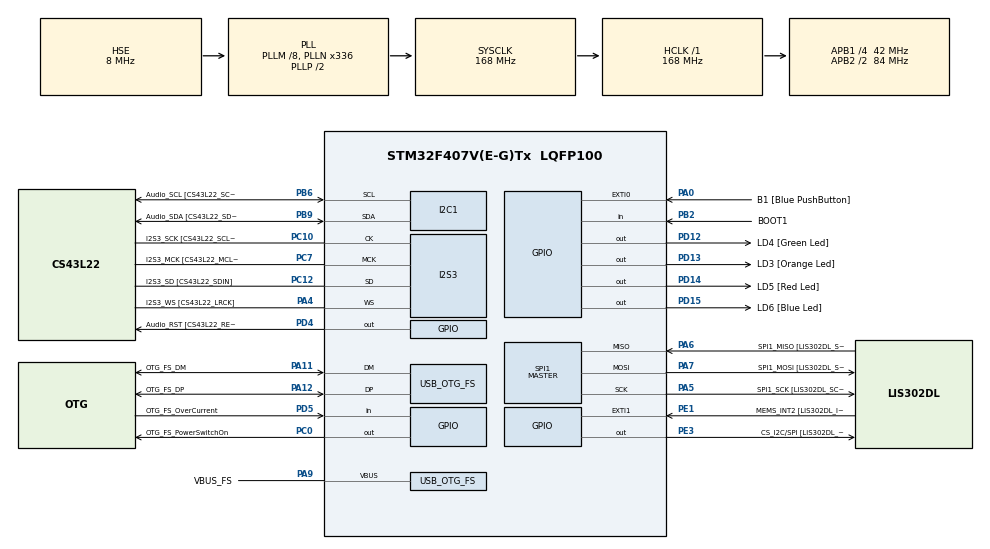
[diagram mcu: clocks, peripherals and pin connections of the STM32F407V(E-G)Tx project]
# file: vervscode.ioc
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I2S3.AudioFreq-Half_Duplex_Master=I2S_AUDIOFREQ_96K
I2S3.ErrorAudioFreq=-2.34 %
I2S3.ErrorAudioFreq-Half_Duplex_Master=0.8 %
I2S3.FullDuplexMode=I2S_FULLDUPLEXMODE_DISABLE
I2S3.Instance=SPI$Index
I2S3.RealAudioFreq=93.75 KHz
I2S3.RealAudioFreq-Half_Duplex_Master=96.774 KHz
I2S3.VirtualMode=I2S_MODE_MASTER
Mcu.Family=STM32F4
Mcu.Name=STM32F407V(E-G)Tx
Mcu.Package=LQFP100
NVIC.OTG_FS_IRQn=true\:0\:0\:false\:false\:true\:true\:true\:true
NVIC.PriorityGroup=NVIC_PRIORITYGROUP_0
PA0-WKUP.GPIO_Label=B1 [Blue PushButton]
PA0-WKUP.GPIO_ModeDefaultEXTI=GPIO_MODE_EVT_RISING
PA0-WKUP.GPIO_PuPd=GPIO_NOPULL
PA0-WKUP.Signal=GPXTI0
PA10.GPIO_Label=OTG_FS_ID
PA10.GPIO_Mode=GPIO_MODE_AF_PP
PA10.GPIO_PuPd=GPIO_NOPULL
PA10.GPIO_Speed=GPIO_SPEED_FREQ_LOW
PA10.Signal=USB_OTG_FS_ID
PA11.GPIO_Label=OTG_FS_DM
PA11.GPIO_Mode=GPIO_MODE_AF_PP
PA11.GPIO_PuPd=GPIO_NOPULL
PA11.GPIO_Speed=GPIO_SPEED_FREQ_LOW
PA11.Mode=Host_Only
PA11.Signal=USB_OTG_FS_DM
PA12.GPIO_Label=OTG_FS_DP
PA12.GPIO_Mode=GPIO_MODE_AF_PP
PA12.GPIO_PuPd=GPIO_NOPULL
PA12.GPIO_Speed=GPIO_SPEED_FREQ_LOW
PA12.Mode=Host_Only
PA12.Signal=USB_OTG_FS_DP
PA13.GPIO_Label=SWDIO
PA13.Mode=Serial_Wire
PA13.Signal=SYS_JTMS-SWDIO
PA14.GPIO_Label=SWCLK
PA14.Mode=Serial_Wire
PA14.Signal=SYS_JTCK-SWCLK
PA4.GPIO_Label=I2S3_WS [CS43L22_LRCK]
PA4.GPIO_Mode=GPIO_MODE_AF_PP
PA4.GPIO_PuPd=GPIO_NOPULL
PA4.GPIO_Speed=GPIO_SPEED_FREQ_LOW
PA4.Mode=Half_Duplex_Master
PA4.Signal=I2S3_WS
PA5.GPIO_Label=SPI1_SCK [LIS302DL_SCL/SPC]
PA5.GPIO_Mode=GPIO_MODE_AF_PP
PA5.GPIO_PuPd=GPIO_NOPULL
PA5.GPIO_Speed=GPIO_SPEED_FREQ_LOW
PA5.Mode=Full_Duplex_Master
PA5.Signal=SPI1_SCK
PA6.GPIO_Label=SPI1_MISO [LIS302DL_SDO]
PA6.GPIO_Mode=GPIO_MODE_AF_PP
PA6.GPIO_PuPd=GPIO_NOPULL
PA6.GPIO_Speed=GPIO_SPEED_FREQ_LOW
PA6.Mode=Full_Duplex_Master
PA6.Signal=SPI1_MISO
PA7.GPIO_Label=SPI1_MOSI [LIS302DL_SDA/SDI/SDO]
PA7.GPIO_Mode=GPIO_MODE_AF_PP
PA7.GPIO_PuPd=GPIO_NOPULL
PA7.GPIO_Speed=GPIO_SPEED_FREQ_LOW
PA7.Mode=Full_Duplex_Master
PA7.Signal=SPI1_MOSI
PA9.GPIO_Label=VBUS_FS
PA9.GPIO_Mode=GPIO_MODE_INPUT
PA9.GPIO_PuPd=GPIO_NOPULL
PA9.Mode=Activate_VBUS
PA9.Signal=USB_OTG_FS_VBUS
PB10.GPIO_Label=CLK_IN [MP45DT02_CLK]
PB10.GPIO_Mode=GPIO_MODE_AF_PP
PB10.GPIO_PuPd=GPIO_NOPULL
PB10.GPIO_Speed=GPIO_SPEED_FREQ_LOW
PB10.Signal=I2S2_CK
PB2.GPIO_Label=BOOT1
PB2.GPIO_Mode=GPIO_MODE_INPUT
PB2.GPIO_PuPd=GPIO_NOPULL
PB2.Signal=GPIO_Input
PB3.GPIO_Label=SWO
PB3.Signal=SYS_JTDO-SWO
PB6.GPIO_Label=Audio_SCL [CS43L22_SCL]
PB6.GPIO_Mode=GPIO_MODE_AF_OD
PB6.GPIO_Pu=GPIO_PULLUP
PB6.GPIO_PuPd=GPIO_NOPULL
PB6.GPIO_Speed=GPIO_SPEED_FREQ_LOW
PB6.Mode=I2C
PB6.Signal=I2C1_SCL
PB9.GPIO_Label=Audio_SDA [CS43L22_SDA]
PB9.GPIO_Mode=GPIO_MODE_AF_OD
PB9.GPIO_Pu=GPIO_PULLUP
PB9.GPIO_PuPd=GPIO_NOPULL
PB9.GPIO_Speed=GPIO_SPEED_FREQ_LOW
PB9.Mode=I2C
PB9.Signal=I2C1_SDA
PC0.GPIO_Label=OTG_FS_PowerSwitchOn
PC0.GPIO_PuPd=GPIO_NOPULL
PC0.GPIO_Speed=GPIO_SPEED_FREQ_LOW
PC0.PinState=GPIO_PIN_SET
PC0.Signal=GPIO_Output
PC10.GPIO_Label=I2S3_SCK [CS43L22_SCLK]
PC10.GPIO_Mode=GPIO_MODE_AF_PP
PC10.GPIO_PuPd=GPIO_NOPULL
PC10.GPIO_Speed=GPIO_SPEED_FREQ_LOW
PC10.Mode=Half_Duplex_Master
PC10.Signal=I2S3_CK
PC12.GPIO_Label=I2S3_SD [CS43L22_SDIN]
PC12.GPIO_Mode=GPIO_MODE_AF_PP
PC12.GPIO_PuPd=GPIO_NOPULL
PC12.GPIO_Speed=GPIO_SPEED_FREQ_LOW
PC12.Mode=Half_Duplex_Master
PC12.Signal=I2S3_SD
PC14-OSC32_IN.GPIO_Label=PC14-OSC32_IN
PC14-OSC32_IN.Mode=LSE-External-Oscillator
PC14-OSC32_IN.Signal=RCC_OSC32_IN
PC15-OSC32_OUT.GPIO_Label=PC15-OSC32_OUT
PC15-OSC32_OUT.Mode=LSE-External-Oscillator
PC15-OSC32_OUT.Signal=RCC_OSC32_OUT
PC3.GPIO_Label=PDM_OUT [MP45DT02_DOUT]
PC3.GPIO_Mode=GPIO_MODE_AF_PP
PC3.GPIO_PuPd=GPIO_NOPULL
PC3.GPIO_Speed=GPIO_SPEED_FREQ_LOW
PC3.Signal=I2S2_SD
PC7.GPIO_Label=I2S3_MCK [CS43L22_MCLK]
PC7.GPIO_Mode=GPIO_MODE_AF_PP
PC7.GPIO_PuPd=GPIO_NOPULL
PC7.GPIO_Speed=GPIO_SPEED_FREQ_LOW
PC7.Mode=Master_Clock_Activated
PC7.Signal=I2S3_MCK
PD12.GPIO_Label=LD4 [Green Led]
PD12.GPIO_PuPd=GPIO_NOPULL
PD12.GPIO_Speed=GPIO_SPEED_FREQ_LOW
PD12.Signal=GPIO_Output
PD13.GPIO_Label=LD3 [Orange Led]
PD13.GPIO_PuPd=GPIO_NOPULL
PD13.GPIO_Speed=GPIO_SPEED_FREQ_LOW
PD13.Signal=GPIO_Output
PD14.GPIO_Label=LD5 [Red Led]
PD14.GPIO_PuPd=GPIO_NOPULL
PD14.GPIO_Speed=GPIO_SPEED_FREQ_LOW
PD14.Signal=GPIO_Output
PD15.GPIO_Label=LD6 [Blue Led]
PD15.GPIO_PuPd=GPIO_NOPULL
PD15.GPIO_Speed=GPIO_SPEED_FREQ_LOW
PD15.Signal=GPIO_Output
PD4.GPIO_Label=Audio_RST [CS43L22_RESET]
PD4.GPIO_PuPd=GPIO_NOPULL
PD4.GPIO_Speed=GPIO_SPEED_FREQ_LOW
PD4.Signal=GPIO_Output
PD5.GPIO_Label=OTG_FS_OverCurrent
PD5.GPIO_Mode=GPIO_MODE_INPUT
PD5.GPIO_PuPd=GPIO_NOPULL
PD5.Signal=GPIO_Input
PE1.GPIO_Label=MEMS_INT2 [LIS302DL_INT2]
PE1.GPIO_ModeDefaultEXTI=GPIO_MODE_EVT_RISING
PE1.GPIO_PuPd=GPIO_NOPULL
PE1.Signal=GPXTI1
PE3.GPIO_Label=CS_I2C/SPI [LIS302DL_CS_I2C/SPI]
PE3.GPIO_PuPd=GPIO_NOPULL
PE3.GPIO_Speed=GPIO_SPEED_FREQ_LOW
PE3.Signal=GPIO_Output
PH0-OSC_IN.GPIO_Label=PH0-OSC_IN
PH0-OSC_IN.Mode=HSE-External-Oscillator
PH0-OSC_IN.Signal=RCC_OSC_IN
PH1-OSC_OUT.GPIO_Label=PH1-OSC_OUT
PH1-OSC_OUT.Mode=HSE-External-Oscillator
PH1-OSC_OUT.Signal=RCC_OSC_OUT
ProjectManager.HeapSize=0x200
ProjectManager.StackSize=0x400
ProjectManager.TargetToolchain=Makefile
RCC.48MHZClocksFreq_Value=48000000
RCC.AHBFreq_Value=168000000
RCC.APB1CLKDivider=RCC_HCLK_DIV4
RCC.APB1Freq_Value=42000000
RCC.APB1TimFreq_Value=84000000
RCC.APB2CLKDivider=RCC_HCLK_DIV2
RCC.APB2Freq_Value=84000000
RCC.APB2TimFreq_Value=168000000
RCC.CortexFreq_Value=168000000
RCC.HCLKFreq_Value=168000000
RCC.HSE_VALUE=8000000
RCC.HSI_VALUE=16000000
RCC.PLLM=8
RCC.PLLN=336
RCC.PLLQ=7
RCC.SYSCLKFreq_VALUE=168000000
RCC.SYSCLKSource=RCC_SYSCLKSOURCE_PLLCLK
RCC.VCOOutputFreq_Value=336000000
SPI1.BaudRatePrescaler-Full_Duplex_Master=SPI_BAUDRATEPRESCALER_2
SPI1.CalculateBaudRate-Full_Duplex_Master=42.0 MBits/s
SPI1.Direction=SPI_DIRECTION_2LINES
SPI1.Mode=SPI_MODE_MASTER
SPI1.Mode-Full_Duplex_Master=SPI_MODE_MASTER
SPI1.VirtualType=VM_MASTER
USB_HOST.BSP.number=1
USB_HOST.USBH_HandleTypeDef-CDC_FS=hUsbHostFS
USB_HOST.VirtualModeFS=Cdc
USB_HOST0.BSP.STBoard=false
USB_HOST0.BSP.api=Unknown
USB_HOST0.BSP.instance=PC0
USB_HOST0.BSP.ip=GPIO
USB_HOST0.BSP.mode=Output
USB_HOST0.BSP.name=Drive_VBUS_FS
USB_HOST0.BSP.solution=PC0
USB_OTG_FS.VirtualMode=Host_Only
USB_OTG_FS.phy_itface=HCD_PHY_EMBEDDED
VP_USB_HOST_VS_USB_HOST_CDC_FS.Mode=CDC_FS
board=STM32F407G-DISC1

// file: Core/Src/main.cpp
/* USER CODE BEGIN Header */
/**
  ******************************************************************************
  * @file           : main.c
  * @brief          : Main program body
  ******************************************************************************
  * @attention
  *
  * Copyright (c) 2026 STMicroelectronics.
  * All rights reserved.
  *
  * This software is licensed under terms that can be found in the LICENSE file
  * in the root directory of this software component.
  * If no LICENSE file comes with this software, it is provided AS-IS.
  *
  ******************************************************************************
  */
/* USER CODE END Header */
#include "main.h"
#include "i2c.h"
#include "i2s.h"
#include "spi.h"
#include "usb_host.h"
#include "gpio.h"

/* USER CODE BEGIN Includes */
#include "MahonyAHRS.h"
#include <cmath>
#include <cstdio>
#include <stdint.h>
#include <stdio.h>
/* USER CODE END Includes */

/* USER CODE BEGIN PD */
#define MPU6050_ADDR        (0x68 << 1)
#define MPU6050_WHO_AM_I    0x75
#define MPU6050_PWR_MGMT_1  0x6B
#define MPU6050_GYRO_CONFIG 0x1B
#define MPU6050_ACCEL_CONFIG 0x1C
#define MPU6050_ACCEL_XOUT_H 0x3B

#define ACCEL_SCALE (1.0f / 16384.0f)
#define GYRO_SCALE  (1.0f / 65.5f)
/* USER CODE END PD */

/* USER CODE BEGIN PV */

static float ax = 0, ay = 0, az = 0;
static float gx = 0, gy = 0, gz = 0;
static float gyro_offset[3] = {0};
static float accel_offset[3] = {0};
static uint32_t last_micros = 0;
static bool mpu_initialized = false;
/* USER CODE END PV */

void SystemClock_Config(void);
void MX_USB_HOST_Process(void);

/* USER CODE BEGIN PFP */
static bool MPU6050_WriteReg(uint8_t reg, uint8_t data);
static bool MPU6050_ReadRegs(uint8_t reg, uint8_t *buf, uint8_t len);
static bool MPU6050_Init(void);

static void MPU6050_CalibrateAccel(void);
static void MPU6050_CalibrateGyro(void);
static void MPU6050_ReadSensors(void);
static uint32_t micros(void);
/* USER CODE END PFP */

/* USER CODE BEGIN 0 */

/* USER CODE BEGIN 0 */

#ifdef __GNUC__
int _write(int file, char *ptr, int len) {
  for(int i = 0; i < len; i++) {
    ITM_SendChar(*ptr++);
  }
  return len;
}
#endif
// MPU6050 Driver Functions
static bool MPU6050_WriteReg(uint8_t reg, uint8_t data) {
  return HAL_I2C_Mem_Write(&hi2c1, MPU6050_ADDR, reg, 1, &data, 1, 100) == HAL_OK;
}
static bool MPU6050_ReadRegs(uint8_t reg, uint8_t *buf, uint8_t len) {
    return HAL_I2C_Mem_Read(&hi2c1, MPU6050_ADDR, reg, 1, buf, len, 100) == HAL_OK;
}
static bool MPU6050_Init(void) {
    uint8_t whoami = 0;

    // Wake up MPU6050 (thoát sleep mode)
    if (!MPU6050_WriteReg(MPU6050_PWR_MGMT_1, 0x00)) return false;
    HAL_Delay(10);

    // Kiểm tra ID: MPU6050 = 0x68
    if (!MPU6050_ReadRegs(MPU6050_WHO_AM_I, &whoami, 1)) return false;
    if (whoami != 0x68) return false;  // ⚠️ QUAN TRỌNG: 0x68 cho MPU6050 (khác 0x71 của MPU9250)

    // Cấu hình gyro ±500dps (0x08 = 500dps)
    if (!MPU6050_WriteReg(MPU6050_GYRO_CONFIG, 0x08)) return false;

    // Cấu hình accel ±2g (default - 0x00)
    // Nếu muốn ±4g: dùng 0x08; ±8g: 0x10; ±16g: 0x18
    if (!MPU6050_WriteReg(MPU6050_ACCEL_CONFIG, 0x00)) return false;

    return true;
}
static void MPU6050_CalibrateGyro(void) {
    int16_t gx_raw, gy_raw, gz_raw;
    float sum_gx = 0, sum_gy = 0, sum_gz = 0;
    uint8_t buf[6];

    HAL_Delay(2000); // Chờ cảm biến ổn định (UAV đứng yên)

    for (int i = 0; i < 200; i++) {
        if (MPU6050_ReadRegs(0x43, buf, 6)) { // Gyro registers (0x43-0x48)
            gx_raw = (int16_t)((buf[0] << 8) | buf[1]);
            gy_raw = (int16_t)((buf[2] << 8) | buf[3]);
            gz_raw = (int16_t)((buf[4] << 8) | buf[5]);

            sum_gx += gx_raw;
            sum_gy += gy_raw;
            sum_gz += gz_raw;
        }
        HAL_Delay(5);
    }

    // Lưu offset (deg/s)
    gyro_offset[0] = (sum_gx / 200.0f) * GYRO_SCALE;
    gyro_offset[1] = (sum_gy / 200.0f) * GYRO_SCALE;
    gyro_offset[2] = (sum_gz / 200.0f) * GYRO_SCALE;
}
static void MPU6050_CalibrateAccel(void){
  float sum_ax = 0, sum_ay = 0, sum_az = 0;
    uint8_t buf[6];

    for (int i = 0; i < 200; i++) {
        if (MPU6050_ReadRegs(MPU6050_ACCEL_XOUT_H, buf, 6)) {
            int16_t ax_raw = (int16_t)((buf[0] << 8) | buf[1]);
            int16_t ay_raw = (int16_t)((buf[2] << 8) | buf[3]);
            int16_t az_raw = (int16_t)((buf[4] << 8) | buf[5]);

            sum_ax += ax_raw * ACCEL_SCALE;
            sum_ay += ay_raw * ACCEL_SCALE;
            sum_az += az_raw * ACCEL_SCALE;
        }
        HAL_Delay(5);
    }

    accel_offset[0] = sum_ax / 200.0f;
    accel_offset[1] = sum_ay / 200.0f;
    accel_offset[2] = (sum_az / 200.0f) - 1.0f;
}
static void MPU6050_ReadSensors(void) {
    uint8_t buf[14];

    if (!MPU6050_ReadRegs(MPU6050_ACCEL_XOUT_H, buf, 14)) {
        return; // Lỗi I2C
    }

    // Accel data (6 bytes: 0x3B-0x40)
    int16_t accel_x = (int16_t)((buf[0] << 8) | buf[1]);
    int16_t accel_y = (int16_t)((buf[2] << 8) | buf[3]);
    int16_t accel_z = (int16_t)((buf[4] << 8) | buf[5]);

    // Gyro data (6 bytes: 0x43-0x48) - bỏ qua 2 byte temp (0x41-0x42)
    int16_t gyro_x = (int16_t)((buf[8] << 8) | buf[9]);
    int16_t gyro_y = (int16_t)((buf[10] << 8) | buf[11]);
    int16_t gyro_z = (int16_t)((buf[12] << 8) | buf[13]);

    // Chuyển sang đơn vị vật lý + bù offset
    // ax = accel_x * ACCEL_SCALE;
    // ay = accel_y * ACCEL_SCALE;
    // az = accel_z * ACCEL_SCALE;

    ax = accel_x * ACCEL_SCALE - accel_offset[0];
    ay = accel_y * ACCEL_SCALE - accel_offset[1];
    az = accel_z * ACCEL_SCALE - accel_offset[2];

    gx = gyro_x * GYRO_SCALE - gyro_offset[0];
    gy = gyro_y * GYRO_SCALE - gyro_offset[1];
    gz = gyro_z * GYRO_SCALE - gyro_offset[2];
}
// Timing chính xác (microsecond) dùng DWT counter
static uint32_t micros(void) {
    static bool dwt_initialized = false;
    if (!dwt_initialized) {
        CoreDebug->DEMCR |= CoreDebug_DEMCR_TRCENA_Msk;
        DWT->CYCCNT = 0;
        DWT->CTRL |= DWT_CTRL_CYCCNTENA_Msk;
        dwt_initialized = true;
    }
    return DWT->CYCCNT / (HAL_RCC_GetHCLKFreq() / 1000000);
}
/* USER CODE END 0 */

int main(void)
{

  /* MCU Configuration--------------------------------------------------------*/

  /* Reset of all peripherals, Initializes the Flash interface and the Systick. */
  HAL_Init();

  /* Configure the system clock */
  SystemClock_Config();

  /* Initialize all configured peripherals */
  MX_GPIO_Init();
  MX_I2C1_Init();
  MX_I2S3_Init();
  MX_SPI1_Init();
  MX_USB_HOST_Init();
  /* USER CODE BEGIN 2 */

  CoreDebug->DEMCR |= CoreDebug_DEMCR_TRCENA_Msk;
  ITM->LAR = 0xC5ACCE55;
  ITM->TER = 0x1;
  ITM->TCR = 0x0001000D;

  if (MPU6050_Init()){
    MPU6050_CalibrateGyro();
    MPU6050_CalibrateAccel();
    // Mahony.Kp = 1.5f;
    // Mahony.Ki = 0.0f;
    last_micros = micros();
    mpu_initialized = true;
  } else {
    Error_Handler();
  }
  /* USER CODE END 2 */

  /* Infinite loop */
  while (1)
  {
    MX_USB_HOST_Process();

    /* USER CODE BEGIN 3 */
    if (mpu_initialized) {
      MPU6050_ReadSensors();
      uint32_t current_micros = micros();
      float dt = (current_micros - last_micros) / 1000000.0f;
      last_micros = current_micros;

      if (dt < 0.0005f) dt = 0.0005f;
      if (dt > 0.02f)   dt = 0.02f;

      // MahonyFilter.updateIMU(gx, gy, gz, ax, ay, az);
      MahonyFilter.updateIMU(gy, gx, gz, ay, ax, az);
      printf("ax=%.2f ay=%.2f az=%.2f\n", ax, ay, az);
      printf("Roll: %.2f | Pitch: %.2f | Yaw: %.2f\n",
            MahonyFilter.getRoll(),
            MahonyFilter.getPitch(),
            MahonyFilter.getYaw());
    }
    HAL_Delay(2);
  }
  /* USER CODE END 3 */
}

void SystemClock_Config(void)
{
  RCC_OscInitTypeDef RCC_OscInitStruct = {0};
  RCC_ClkInitTypeDef RCC_ClkInitStruct = {0};

  /** Configure the main internal regulator output voltage
  */
  __HAL_RCC_PWR_CLK_ENABLE();
  __HAL_PWR_VOLTAGESCALING_CONFIG(PWR_REGULATOR_VOLTAGE_SCALE1);

  /** Initializes the RCC Oscillators according to the specified parameters
  * in the RCC_OscInitTypeDef structure.
  */
  RCC_OscInitStruct.OscillatorType = RCC_OSCILLATORTYPE_HSE;
  RCC_OscInitStruct.HSEState = RCC_HSE_ON;
  RCC_OscInitStruct.PLL.PLLState = RCC_PLL_ON;
  RCC_OscInitStruct.PLL.PLLSource = RCC_PLLSOURCE_HSE;
  RCC_OscInitStruct.PLL.PLLM = 8;
  RCC_OscInitStruct.PLL.PLLN = 336;
  RCC_OscInitStruct.PLL.PLLP = RCC_PLLP_DIV2;
  RCC_OscInitStruct.PLL.PLLQ = 7;
  if (HAL_RCC_OscConfig(&RCC_OscInitStruct) != HAL_OK)
  {
    Error_Handler();
  }

  /** Initializes the CPU, AHB and APB buses clocks
  */
  RCC_ClkInitStruct.ClockType = RCC_CLOCKTYPE_HCLK|RCC_CLOCKTYPE_SYSCLK
                              |RCC_CLOCKTYPE_PCLK1|RCC_CLOCKTYPE_PCLK2;
  RCC_ClkInitStruct.SYSCLKSource = RCC_SYSCLKSOURCE_PLLCLK;
  RCC_ClkInitStruct.AHBCLKDivider = RCC_SYSCLK_DIV1;
  RCC_ClkInitStruct.APB1CLKDivider = RCC_HCLK_DIV4;
  RCC_ClkInitStruct.APB2CLKDivider = RCC_HCLK_DIV2;

  if (HAL_RCC_ClockConfig(&RCC_ClkInitStruct, FLASH_LATENCY_5) != HAL_OK)
  {
    Error_Handler();
  }
}

void Error_Handler(void)
{
  /* USER CODE BEGIN Error_Handler_Debug */
  /* User can add his own implementation to report the HAL error return state */
  __disable_irq();
  while (1)
  {
      HAL_GPIO_TogglePin(GPIOB, GPIO_PIN_14);
      HAL_Delay(200);
  }
  /* USER CODE END Error_Handler_Debug */
}
